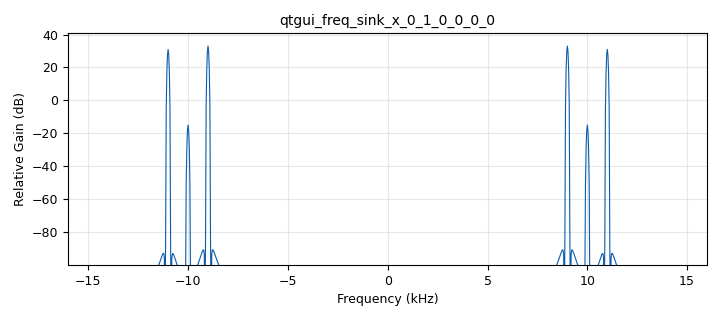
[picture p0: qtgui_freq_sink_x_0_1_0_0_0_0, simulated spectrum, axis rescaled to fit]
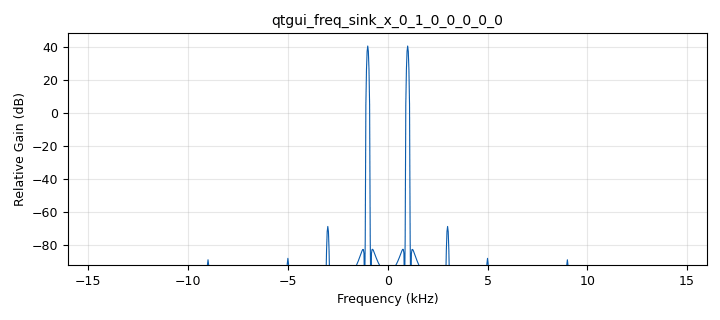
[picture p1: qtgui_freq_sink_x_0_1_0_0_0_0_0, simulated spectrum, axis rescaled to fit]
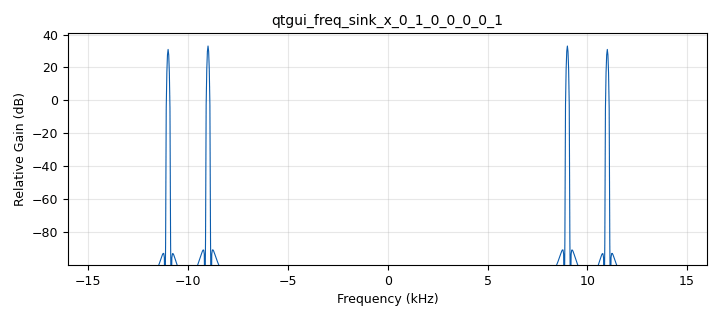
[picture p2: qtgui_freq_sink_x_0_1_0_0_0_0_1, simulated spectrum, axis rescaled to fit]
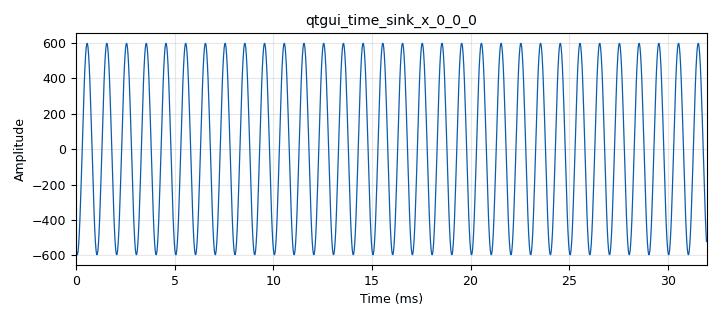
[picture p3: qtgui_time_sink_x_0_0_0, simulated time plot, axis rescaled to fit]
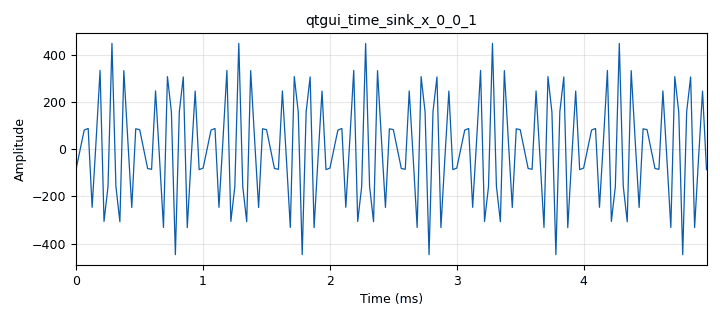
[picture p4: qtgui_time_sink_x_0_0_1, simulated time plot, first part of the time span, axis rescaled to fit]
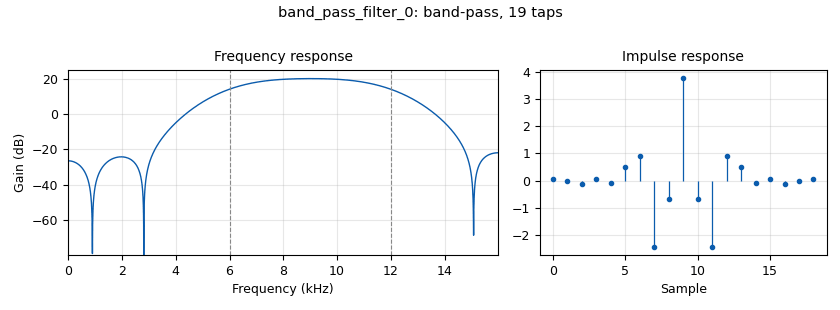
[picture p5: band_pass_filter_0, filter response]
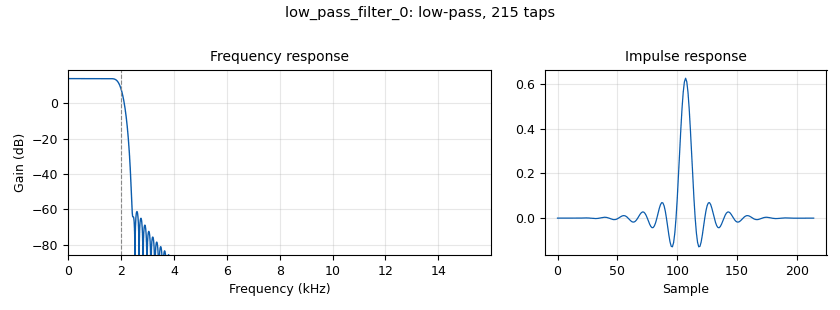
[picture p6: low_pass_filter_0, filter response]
options:
  parameters:
    generate_options: qt_gui
    id: demodulador_dsb
    output_language: python
    title: demodulador_dsb
  states: {}

blocks:
- name: samp_rate
  id: variable
  parameters:
    value: '32000'
  states: {}
- name: analog_sig_source_x_0
  id: analog_sig_source_x
  parameters:
    alias: modulante
    amp: '1'
    freq: '1000'
    offset: '0'
    phase: '0'
    samp_rate: samp_rate
    type: float
    waveform: analog.GR_COS_WAVE
  states: {}
- name: analog_sig_source_x_1
  id: analog_sig_source_x
  parameters:
    alias: portadora
    amp: '50'
    freq: '10000'
    offset: '0'
    phase: '0'
    samp_rate: samp_rate
    type: float
    waveform: analog.GR_COS_WAVE
  states: {}
- name: analog_sig_source_x_2
  id: analog_sig_source_x
  parameters:
    alias: local
    amp: '1'
    freq: '10000'
    offset: '0'
    phase: '0'
    samp_rate: samp_rate
    type: float
    waveform: analog.GR_COS_WAVE
  states: {}
- name: analog_sig_source_x_2_0
  id: analog_sig_source_x
  parameters:
    alias: local2
    amp: '1'
    freq: '10000'
    offset: '0.5'
    phase: '0'
    samp_rate: samp_rate
    type: float
    waveform: analog.GR_SQR_WAVE
  states: {}
- name: band_pass_filter_0
  id: band_pass_filter
  parameters:
    alias: dsb
    decim: '1'
    gain: '10'
    high_cutoff_freq: '12000'
    low_cutoff_freq: '6000'
    samp_rate: samp_rate
    type: fir_filter_fff
    width: '4000'
    win: firdes.WIN_HAMMING
  states: {}
- name: blocks_add_xx_0
  id: blocks_add_xx
  parameters:
    type: float
  states: {}
- name: blocks_multiply_xx_0
  id: blocks_multiply_xx
  parameters:
    type: float
  states: {}
- name: blocks_multiply_xx_1
  id: blocks_multiply_xx
  parameters:
    type: float
  states: {}
- name: dc_blocker_xx_0
  id: dc_blocker_xx
  parameters:
    length: '32'
    long_form: 'True'
    type: ff
  states: {}
- name: low_pass_filter_0
  id: low_pass_filter
  parameters:
    beta: '10'
    cutoff_freq: '2000'
    decim: '32'
    gain: '5'
    interp: '1'
    samp_rate: samp_rate
    type: interp_fir_filter_fff
    width: '500'
    win: firdes.WIN_BLACKMAN
  states: {}
- name: qtgui_freq_sink_x_0_1_0_0_0_0
  id: qtgui_freq_sink_x
  parameters:
    bw: samp_rate
    fc: '0'
    fftsize: '1024'
    type: float
    wintype: firdes.WIN_BLACKMAN_hARRIS
  states: {}
- name: qtgui_freq_sink_x_0_1_0_0_0_0_0
  id: qtgui_freq_sink_x
  parameters:
    bw: samp_rate
    fc: '0'
    fftsize: '1024'
    type: float
    wintype: firdes.WIN_BLACKMAN_hARRIS
  states: {}
- name: qtgui_freq_sink_x_0_1_0_0_0_0_1
  id: qtgui_freq_sink_x
  parameters:
    bw: samp_rate
    fc: '0'
    fftsize: '1024'
    type: float
    wintype: firdes.WIN_BLACKMAN_hARRIS
  states: {}
- name: qtgui_time_sink_x_0_0_0
  id: qtgui_time_sink_x
  parameters:
    size: '1024'
    srate: samp_rate
    type: float
  states: {}
- name: qtgui_time_sink_x_0_0_1
  id: qtgui_time_sink_x
  parameters:
    size: '1024'
    srate: samp_rate
    type: float
  states: {}

connections:
- [analog_sig_source_x_0, '0', blocks_multiply_xx_0, '0']
- [analog_sig_source_x_1, '0', blocks_multiply_xx_0, '1']
- [analog_sig_source_x_2, '0', blocks_add_xx_0, '1']
- [analog_sig_source_x_2_0, '0', blocks_multiply_xx_1, '1']
- [band_pass_filter_0, '0', blocks_add_xx_0, '0']
- [band_pass_filter_0, '0', qtgui_freq_sink_x_0_1_0_0_0_0_1, '0']
- [blocks_add_xx_0, '0', blocks_multiply_xx_1, '0']
- [blocks_add_xx_0, '0', qtgui_freq_sink_x_0_1_0_0_0_0, '0']
- [blocks_add_xx_0, '0', qtgui_time_sink_x_0_0_1, '0']
- [blocks_multiply_xx_0, '0', band_pass_filter_0, '0']
- [blocks_multiply_xx_1, '0', low_pass_filter_0, '0']
- [dc_blocker_xx_0, '0', qtgui_freq_sink_x_0_1_0_0_0_0_0, '0']
- [dc_blocker_xx_0, '0', qtgui_time_sink_x_0_0_0, '0']
- [low_pass_filter_0, '0', dc_blocker_xx_0, '0']

metadata:
  file_format: 1
